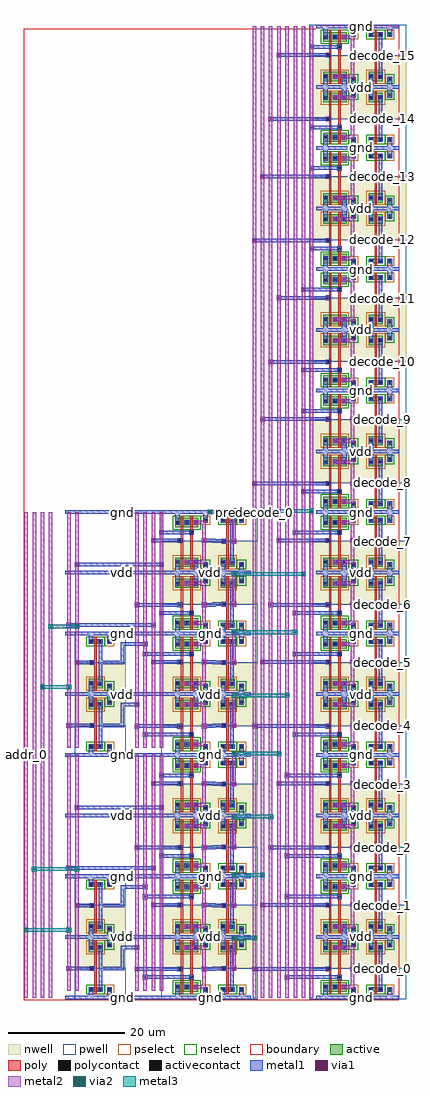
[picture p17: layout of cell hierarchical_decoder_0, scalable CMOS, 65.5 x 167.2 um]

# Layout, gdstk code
import gdstk
lib = gdstk.Library(unit=1e-6, precision=1e-09)
def R(c, l, rs):  # rectangles x0, y0, x1, y1
    for r in rs: c.add(gdstk.rectangle(r[:2], r[2:], *l))
def A(c, l, x, y, w, h, nx, ny, dx, dy):  # array of equal rectangles
    R(c, l, [(x+i*dx, y+j*dy, x+i*dx+w, y+j*dy+h) for i in range(nx) for j in range(ny)])
pwell = (41, 0)
nwell = (42, 0)
active = (43, 0)
pselect = (44, 0)
nselect = (45, 0)
poly = (46, 0)
polycontact = (47, 0)
activecontact = (48, 0)
metal1 = (49, 0)
via1 = (50, 0)
metal2 = (51, 0)
via2 = (61, 0)
metal3 = (62, 0)
boundary = (63, 0)

contact_11 = lib.new_cell('contact_11')
R(contact_11, nwell, [(-1.2,-1.2,2,2)])
R(contact_11, active, [(0,0,0.8,0.8)])
R(contact_11, pselect, [(-0.4,-0.4,1.2,1.2)])
R(contact_11, activecontact, [(0.2,0.2,0.6,0.6)])
R(contact_11, metal1, [(0,0,0.8,0.8)])

pmos_m1_w1_600_a_p = lib.new_cell('pmos_m1_w1_600_a_p')
R(pmos_m1_w1_600_a_p, nwell, [(-1.2,-1.2,3.6,2.8)])
R(pmos_m1_w1_600_a_p, active, [(0,0,2.4,1.6)])
R(pmos_m1_w1_600_a_p, pselect, [(-0.4,-0.4,2.8,2)])
R(pmos_m1_w1_600_a_p, poly, [(1,-0.4,1.4,2), (1,-0.4,1.4,2)])
R(pmos_m1_w1_600_a_p, metal1, [(0,0.4,0.8,1.2), (1.6,0.4,2.4,1.2)])
R(pmos_m1_w1_600_a_p, boundary, [(-1.2,-1.2,3.6,2.8)])
pmos_m1_w1_600_a_p.add(gdstk.Reference(contact_11, (0,0.4)))
pmos_m1_w1_600_a_p.add(gdstk.Reference(contact_11, (1.6,0.4)))
pmos_m1_w1_600_a_p.add(gdstk.Label('G', (1.2,0.8), layer=46, texttype=0))
pmos_m1_w1_600_a_p.add(gdstk.Label('S', (0.4,0.8), layer=49, texttype=0))
pmos_m1_w1_600_a_p.add(gdstk.Label('D', (2,0.8), layer=49, texttype=0))

contact_16 = lib.new_cell('contact_16')
R(contact_16, pwell, [(-1.2,-1.2,2,2)])
R(contact_16, active, [(0,0,0.8,0.8)])
R(contact_16, nselect, [(-0.4,-0.4,1.2,1.2)])
R(contact_16, activecontact, [(0.2,0.2,0.6,0.6)])
R(contact_16, metal1, [(0,0,0.8,0.8)])

nmos_m1_w0_800_a_p = lib.new_cell('nmos_m1_w0_800_a_p')
R(nmos_m1_w0_800_a_p, pwell, [(-1.2,-1.2,3.6,2)])
R(nmos_m1_w0_800_a_p, active, [(0,0,2.4,0.8)])
R(nmos_m1_w0_800_a_p, nselect, [(-0.4,-0.4,2.8,1.2)])
R(nmos_m1_w0_800_a_p, poly, [(1,-0.4,1.4,1.2), (1,-0.4,1.4,1.2)])
R(nmos_m1_w0_800_a_p, metal1, [(0,0,0.8,0.8), (1.6,0,2.4,0.8)])
R(nmos_m1_w0_800_a_p, boundary, [(-1.2,-1.2,3.6,2)])
nmos_m1_w0_800_a_p.add(gdstk.Reference(contact_16, (0,0)))
nmos_m1_w0_800_a_p.add(gdstk.Reference(contact_16, (1.6,0)))
nmos_m1_w0_800_a_p.add(gdstk.Label('G', (1.2,0.4), layer=46, texttype=0))
nmos_m1_w0_800_a_p.add(gdstk.Label('S', (0.4,0.4), layer=49, texttype=0))
nmos_m1_w0_800_a_p.add(gdstk.Label('D', (2,0.4), layer=49, texttype=0))

contact_13 = lib.new_cell('contact_13')
R(contact_13, nwell, [(-1.2,-1.2,2,2)])
R(contact_13, active, [(0,0,0.8,0.8)])
R(contact_13, nselect, [(-0.4,-0.4,1.2,1.2)])
R(contact_13, activecontact, [(0.2,0.2,0.6,0.6)])
R(contact_13, metal1, [(0,0,0.8,0.8)])

contact_17 = lib.new_cell('contact_17')
R(contact_17, pwell, [(-1.2,-1.2,2,2)])
R(contact_17, active, [(0,0,0.8,0.8)])
R(contact_17, pselect, [(-0.4,-0.4,1.2,1.2)])
R(contact_17, activecontact, [(0.2,0.2,0.6,0.6)])
R(contact_17, metal1, [(0,0,0.8,0.8)])

contact_12 = lib.new_cell('contact_12')
R(contact_12, poly, [(0,0,0.8,0.8)])
R(contact_12, polycontact, [(0.2,0.2,0.6,0.6)])
R(contact_12, metal1, [(0,0,0.8,0.8)])

pinv_0 = lib.new_cell('pinv_0')
R(pinv_0, pwell, [(-1.2,-0.3,7.6,5)])
R(pinv_0, nwell, [(-1.2,5,7.6,11.8)])
R(pinv_0, poly, [(2.2,2.2,2.6,7.4), (1.8,4.6,2.2,5.4)])
R(pinv_0, metal1, [(0,-0.3,6.4,0.3), (1.2,-0.3,2,1), (4.4,0,5.2,1.4), (2.9,1,3.5,9), (1.4,4.6,2.2,5.4), (3.2,4.7,3.8,5.3), (1.2,8.2,2,10.7), (4.4,9,5.2,10.4), (0,10.1,6.4,10.7)])
R(pinv_0, boundary, [(0,0,6.4,10.4)])
pinv_0.add(gdstk.Reference(pmos_m1_w1_600_a_p, (1.2,7.8)))
pinv_0.add(gdstk.Reference(nmos_m1_w0_800_a_p, (1.2,1)))
pinv_0.add(gdstk.Reference(contact_13, (4.4,8.6)))
pinv_0.add(gdstk.Reference(contact_17, (4.4,1)))
pinv_0.add(gdstk.Reference(contact_12, (1.4,4.6)))
pinv_0.add(gdstk.Label('gnd', (3.2,0), layer=49, texttype=0))
pinv_0.add(gdstk.Label('vdd', (3.2,10.4), layer=49, texttype=0))
pinv_0.add(gdstk.Label('A', (1.8,5), layer=49, texttype=0))
pinv_0.add(gdstk.Label('Z', (3.5,5), layer=49, texttype=0))

nmos_m1_w1_600_a_p = lib.new_cell('nmos_m1_w1_600_a_p')
R(nmos_m1_w1_600_a_p, pwell, [(-1.2,-1.2,3.6,2.8)])
R(nmos_m1_w1_600_a_p, active, [(0,0,2.4,1.6)])
R(nmos_m1_w1_600_a_p, nselect, [(-0.4,-0.4,2.8,2)])
R(nmos_m1_w1_600_a_p, poly, [(1,-0.4,1.4,2), (1,-0.4,1.4,2)])
R(nmos_m1_w1_600_a_p, metal1, [(0,0.4,0.8,1.2), (1.6,0.4,2.4,1.2)])
R(nmos_m1_w1_600_a_p, boundary, [(-1.2,-1.2,3.6,2.8)])
nmos_m1_w1_600_a_p.add(gdstk.Reference(contact_16, (0,0.4)))
nmos_m1_w1_600_a_p.add(gdstk.Reference(contact_16, (1.6,0.4)))
nmos_m1_w1_600_a_p.add(gdstk.Label('G', (1.2,0.8), layer=46, texttype=0))
nmos_m1_w1_600_a_p.add(gdstk.Label('S', (0.4,0.8), layer=49, texttype=0))
nmos_m1_w1_600_a_p.add(gdstk.Label('D', (2,0.8), layer=49, texttype=0))

contact_18 = lib.new_cell('contact_18')
R(contact_18, metal1, [(0,0,0.8,0.8)])
R(contact_18, via1, [(0.2,0.2,0.6,0.6)])
R(contact_18, metal2, [(0,0,0.8,0.8)])

contact_19 = lib.new_cell('contact_19')
R(contact_19, metal1, [(0,0,0.8,0.8)])
R(contact_19, via1, [(0.2,0.2,0.6,0.6)])
R(contact_19, metal2, [(0,0,0.8,0.8)])

pnand2_0 = lib.new_cell('pnand2_0')
R(pnand2_0, pwell, [(-1.2,-0.3,9,5)])
R(pnand2_0, nwell, [(-1.2,5,9,11.8)])
R(pnand2_0, poly, [(2.2,3,2.6,7.4), (3.8,3,4.2,7.4), (3.8,3.1,4,3.9), (2,4.5,2.2,5.3)])
R(pnand2_0, metal1, [(0,-0.3,7.8,0.3), (1.2,-0.3,2,1.4), (6,0,6.8,1.4), (3.6,3.1,4.4,3.9), (1.6,4.5,2.4,5.3), (5.8,4.5,6.6,5.3), (1.2,8.2,2,10.7), (4.4,8.2,5.2,10.7), (6,9,6.8,10.4), (0,10.1,7.8,10.7)])
R(pnand2_0, metal2, [(4.8,1.5,6.2,2.1), (5.9,1.5,6.5,2.1), (5.9,1.8,6.5,4.9), (5.9,4.9,6.5,8.6), (3.2,8.3,6.2,8.9), (5.9,8.3,6.5,8.9)])
R(pnand2_0, boundary, [(0,0,7.8,10.4)])
pnand2_0.add(gdstk.Reference(pmos_m1_w1_600_a_p, (1.2,7.8)))
pnand2_0.add(gdstk.Reference(pmos_m1_w1_600_a_p, (2.8,7.8)))
pnand2_0.add(gdstk.Reference(nmos_m1_w1_600_a_p, (1.2,1)))
pnand2_0.add(gdstk.Reference(nmos_m1_w1_600_a_p, (2.8,1)))
pnand2_0.add(gdstk.Reference(contact_13, (6,8.6)))
pnand2_0.add(gdstk.Reference(contact_17, (6,1)))
pnand2_0.add(gdstk.Reference(contact_12, (3.6,3.1)))
pnand2_0.add(gdstk.Reference(contact_12, (1.6,4.5)))
pnand2_0.add(gdstk.Reference(contact_18, (2.8,8.2)))
pnand2_0.add(gdstk.Reference(contact_18, (4.4,1.4)))
pnand2_0.add(gdstk.Reference(contact_19, (5.8,4.5)))
pnand2_0.add(gdstk.Label('gnd', (3.9,0), layer=49, texttype=0))
pnand2_0.add(gdstk.Label('vdd', (3.9,10.4), layer=49, texttype=0))
pnand2_0.add(gdstk.Label('B', (4,3.5), layer=49, texttype=0))
pnand2_0.add(gdstk.Label('A', (2,4.9), layer=49, texttype=0))
pnand2_0.add(gdstk.Label('Z', (6.2,4.9), layer=49, texttype=0))

contact_7 = lib.new_cell('contact_7')
R(contact_7, metal1, [(0,0,0.8,0.8)])
R(contact_7, via1, [(0.2,0.2,0.6,0.6)])
R(contact_7, metal2, [(0,0,0.8,0.8)])

contact_8 = lib.new_cell('contact_8')
R(contact_8, metal2, [(0,0,0.8,0.8)])
R(contact_8, via2, [(0.2,0.2,0.6,0.6)])
R(contact_8, metal3, [(0,0,0.8,0.8)])

hierarchical_predecode2x = lib.new_cell('hierarchical_predecode2x4_0')
R(hierarchical_predecode2x, metal1, [(0,-0.3,31.8,0.3), (13.7,3.2,21.2,3.8), (12.3,4.6,19.2,5.2), (24.2,4.6,25.5,5.2), (25.2,4.6,25.8,5.2), (0.6,4.7,4.2,5.3), (6.6,4.7,9.8,5.3), (9.5,4.7,10.1,5.3), (25.2,4.7,25.8,5.3), (25.5,4.7,26.8,5.3), (28.6,4.7,29.2,5.3), (25.2,4.9,25.8,5), (9.5,5,10.1,8.6), (9.5,8.3,10.1,8.9), (9.8,8.3,12.3,8.9), (0,10.1,31.8,10.7), (0,10.1,31.8,10.7), (2,15.5,4.2,16.1), (6.6,15.5,9.8,16.1), (9.5,15.5,10.1,16.1), (25.2,15.5,25.8,16.1), (25.5,15.5,26.8,16.1), (28.6,15.5,29.2,16.1), (15.1,15.6,19.2,16.2), (24.2,15.6,25.5,16.2), (25.2,15.6,25.8,16.2), (9.5,15.8,10.1,19), (25.2,15.8,25.8,15.9), (13.7,17,21.2,17.6), (9.5,18.7,10.1,19.3), (9.8,18.7,13.7,19.3), (0,20.5,31.8,21.1), (0,20.5,31.8,21.1), (0.6,21.9,15.1,22.5), (16.5,24,21.2,24.6), (12.3,25.4,19.2,26), (24.2,25.4,25.5,26), (25.2,25.4,25.8,26), (25.2,25.5,25.8,26.1), (25.5,25.5,26.8,26.1), (28.6,25.5,29.2,26.1), (25.2,25.7,25.8,25.8), (0,30.9,31.8,31.5), (0,30.9,31.8,31.5), (2,32.3,16.5,32.9), (25.2,36.3,25.8,36.9), (25.5,36.3,26.8,36.9), (28.6,36.3,29.2,36.9), (15.1,36.4,19.2,37), (24.2,36.4,25.5,37), (25.2,36.4,25.8,37), (25.2,36.6,25.8,36.7), (16.5,37.8,21.2,38.4), (0,41.3,31.8,41.9)])
A(hierarchical_predecode2x, metal2, 12, 1.2, 0.6, 40.4, 4, 1, 1.4, 0)
R(hierarchical_predecode2x, metal2, [(0.3,1.2,0.9,41.6), (1.7,1.2,2.3,41.6)])
A(hierarchical_predecode2x, metal3, 9.4, 10, 0.8, 0.8, 1, 3, 0, 10.4)
A(hierarchical_predecode2x, metal3, 24.4, 10, 0.8, 0.8, 1, 3, 0, 10.4)
R(hierarchical_predecode2x, metal3, [(9.4,-0.4,10.2,0.4), (24.4,-0.4,25.2,0.4), (9.4,10,10.2,10.8), (24.4,10,25.2,10.8), (9.4,30.8,10.2,31.6), (24.4,30.8,25.2,31.6), (9.4,41.2,10.2,42), (24.4,41.2,25.2,42)])
R(hierarchical_predecode2x, boundary, [(0,0,31.8,41.6)])
hierarchical_predecode2x.add(gdstk.Reference(pinv_0, (2.8,0)))
hierarchical_predecode2x.add(gdstk.Reference(pinv_0, (2.8,20.8), x_reflection=True))
hierarchical_predecode2x.add(gdstk.Reference(pinv_0, (25.4,0)))
hierarchical_predecode2x.add(gdstk.Reference(pinv_0, (25.4,20.8), x_reflection=True))
hierarchical_predecode2x.add(gdstk.Reference(pinv_0, (25.4,20.8)))
hierarchical_predecode2x.add(gdstk.Reference(pinv_0, (25.4,41.6), x_reflection=True))
hierarchical_predecode2x.add(gdstk.Reference(pnand2_0, (17.6,0)))
hierarchical_predecode2x.add(gdstk.Reference(pnand2_0, (17.6,20.8), x_reflection=True))
hierarchical_predecode2x.add(gdstk.Reference(pnand2_0, (17.6,20.8)))
hierarchical_predecode2x.add(gdstk.Reference(pnand2_0, (17.6,41.6), x_reflection=True))
hierarchical_predecode2x.add(gdstk.Reference(contact_19, (11.9,8.2)))
hierarchical_predecode2x.add(gdstk.Reference(contact_19, (0.2,4.6)))
hierarchical_predecode2x.add(gdstk.Reference(contact_19, (13.3,18.6)))
hierarchical_predecode2x.add(gdstk.Reference(contact_19, (1.6,15.4)))
hierarchical_predecode2x.add(gdstk.Reference(contact_19, (0.2,21.8)))
hierarchical_predecode2x.add(gdstk.Reference(contact_19, (14.7,21.8)))
hierarchical_predecode2x.add(gdstk.Reference(contact_19, (1.6,32.2)))
hierarchical_predecode2x.add(gdstk.Reference(contact_19, (16.1,32.2)))
hierarchical_predecode2x.add(gdstk.Reference(contact_19, (11.9,4.5)))
hierarchical_predecode2x.add(gdstk.Reference(contact_19, (13.3,3.1)))
hierarchical_predecode2x.add(gdstk.Reference(contact_19, (14.7,15.5)))
hierarchical_predecode2x.add(gdstk.Reference(contact_19, (13.3,16.9)))
hierarchical_predecode2x.add(gdstk.Reference(contact_19, (11.9,25.3)))
hierarchical_predecode2x.add(gdstk.Reference(contact_19, (16.1,23.9)))
hierarchical_predecode2x.add(gdstk.Reference(contact_19, (14.7,36.3)))
hierarchical_predecode2x.add(gdstk.Reference(contact_19, (16.1,37.7)))
hierarchical_predecode2x.add(gdstk.Reference(contact_7, (9.4,10)))
hierarchical_predecode2x.add(gdstk.Reference(contact_8, (9.4,10)))
hierarchical_predecode2x.add(gdstk.Reference(contact_7, (24.4,10)))
hierarchical_predecode2x.add(gdstk.Reference(contact_8, (24.4,10)))
hierarchical_predecode2x.add(gdstk.Reference(contact_7, (9.4,-0.4)))
hierarchical_predecode2x.add(gdstk.Reference(contact_8, (9.4,-0.4)))
hierarchical_predecode2x.add(gdstk.Reference(contact_7, (24.4,-0.4)))
hierarchical_predecode2x.add(gdstk.Reference(contact_8, (24.4,-0.4)))
hierarchical_predecode2x.add(gdstk.Reference(contact_7, (9.4,10)))
hierarchical_predecode2x.add(gdstk.Reference(contact_8, (9.4,10)))
hierarchical_predecode2x.add(gdstk.Reference(contact_7, (24.4,10)))
hierarchical_predecode2x.add(gdstk.Reference(contact_8, (24.4,10)))
hierarchical_predecode2x.add(gdstk.Reference(contact_7, (9.4,20.4)))
hierarchical_predecode2x.add(gdstk.Reference(contact_8, (9.4,20.4)))
hierarchical_predecode2x.add(gdstk.Reference(contact_7, (24.4,20.4)))
hierarchical_predecode2x.add(gdstk.Reference(contact_8, (24.4,20.4)))
hierarchical_predecode2x.add(gdstk.Reference(contact_7, (9.4,30.8)))
hierarchical_predecode2x.add(gdstk.Reference(contact_8, (9.4,30.8)))
hierarchical_predecode2x.add(gdstk.Reference(contact_7, (24.4,30.8)))
hierarchical_predecode2x.add(gdstk.Reference(contact_8, (24.4,30.8)))
hierarchical_predecode2x.add(gdstk.Reference(contact_7, (9.4,20.4)))
hierarchical_predecode2x.add(gdstk.Reference(contact_8, (9.4,20.4)))
hierarchical_predecode2x.add(gdstk.Reference(contact_7, (24.4,20.4)))
hierarchical_predecode2x.add(gdstk.Reference(contact_8, (24.4,20.4)))
hierarchical_predecode2x.add(gdstk.Reference(contact_7, (9.4,30.8)))
hierarchical_predecode2x.add(gdstk.Reference(contact_8, (9.4,30.8)))
hierarchical_predecode2x.add(gdstk.Reference(contact_7, (24.4,30.8)))
hierarchical_predecode2x.add(gdstk.Reference(contact_8, (24.4,30.8)))
hierarchical_predecode2x.add(gdstk.Reference(contact_7, (9.4,41.2)))
hierarchical_predecode2x.add(gdstk.Reference(contact_8, (9.4,41.2)))
hierarchical_predecode2x.add(gdstk.Reference(contact_7, (24.4,41.2)))
hierarchical_predecode2x.add(gdstk.Reference(contact_8, (24.4,41.2)))
hierarchical_predecode2x.add(gdstk.Label('in_0', (0.6,21.4), layer=51, texttype=0))
hierarchical_predecode2x.add(gdstk.Label('in_1', (2,21.4), layer=51, texttype=0))
hierarchical_predecode2x.add(gdstk.Label('out_0', (28.9,5), layer=49, texttype=0))
hierarchical_predecode2x.add(gdstk.Label('out_1', (28.9,15.8), layer=49, texttype=0))
hierarchical_predecode2x.add(gdstk.Label('out_2', (28.9,25.8), layer=49, texttype=0))
hierarchical_predecode2x.add(gdstk.Label('out_3', (28.9,36.6), layer=49, texttype=0))
hierarchical_predecode2x.add(gdstk.Label('vdd', (24.8,31.2), layer=62, texttype=0))
hierarchical_predecode2x.add(gdstk.Label('vdd', (24.8,31.2), layer=62, texttype=0))
hierarchical_predecode2x.add(gdstk.Label('vdd', (9.8,31.2), layer=62, texttype=0))
hierarchical_predecode2x.add(gdstk.Label('vdd', (9.8,31.2), layer=62, texttype=0))
hierarchical_predecode2x.add(gdstk.Label('vdd', (24.8,10.4), layer=62, texttype=0))
hierarchical_predecode2x.add(gdstk.Label('vdd', (24.8,10.4), layer=62, texttype=0))
hierarchical_predecode2x.add(gdstk.Label('vdd', (9.8,10.4), layer=62, texttype=0))
hierarchical_predecode2x.add(gdstk.Label('vdd', (9.8,10.4), layer=62, texttype=0))
hierarchical_predecode2x.add(gdstk.Label('gnd', (9.8,0), layer=62, texttype=0))
hierarchical_predecode2x.add(gdstk.Label('gnd', (24.8,41.6), layer=62, texttype=0))
hierarchical_predecode2x.add(gdstk.Label('gnd', (24.8,0), layer=62, texttype=0))
hierarchical_predecode2x.add(gdstk.Label('gnd', (24.8,20.8), layer=62, texttype=0))
hierarchical_predecode2x.add(gdstk.Label('gnd', (9.8,41.6), layer=62, texttype=0))
hierarchical_predecode2x.add(gdstk.Label('gnd', (9.8,20.8), layer=62, texttype=0))

contact_9 = lib.new_cell('contact_9')
R(contact_9, metal2, [(0,0,0.8,0.8)])
R(contact_9, via2, [(0.2,0.2,0.6,0.6)])
R(contact_9, metal3, [(0,0,0.8,0.8)])

contact_21 = lib.new_cell('contact_21')
R(contact_21, metal2, [(0,0,0.8,0.8)])
R(contact_21, via2, [(0.2,0.2,0.6,0.6)])
R(contact_21, metal3, [(0,0,0.8,0.8)])

hierarchical_decoder_0 = lib.new_cell('hierarchical_decoder_0')
A(hierarchical_decoder_0, metal1, 50.1, 0.1, 14.2, 0.6, 1, 16, 0, 10.4)
A(hierarchical_decoder_0, metal1, 39.5, 5, 12.2, 0.6, 1, 4, 0, 41.6)
A(hierarchical_decoder_0, metal1, 40.9, 16, 10.8, 0.6, 1, 4, 0, 41.6)
A(hierarchical_decoder_0, metal1, 42.3, 25.8, 9.4, 0.6, 1, 4, 0, 41.6)
A(hierarchical_decoder_0, metal1, 43.7, 36.8, 8, 0.6, 1, 4, 0, 41.6)
R(hierarchical_decoder_0, metal1, [(45.1,3.6,53.7,4.2), (56.7,5,58,5.6), (57.7,5,58.3,5.6), (57.7,5.1,58.3,5.7), (58,5.1,59.3,5.7), (61.1,5.1,61.7,5.7), (57.7,5.3,58.3,5.4), (57.7,15.9,58.3,16.5), (58,15.9,59.3,16.5), (61.1,15.9,61.7,16.5), (56.7,16,58,16.6), (57.7,16,58.3,16.6), (57.7,16.2,58.3,16.3), (45.1,17.4,53.7,18), (45.1,24.4,53.7,25), (56.7,25.8,58,26.4), (57.7,25.8,58.3,26.4), (57.7,25.9,58.3,26.5), (58,25.9,59.3,26.5), (61.1,25.9,61.7,26.5), (57.7,26.1,58.3,26.2), (57.7,36.7,58.3,37.3), (58,36.7,59.3,37.3), (61.1,36.7,61.7,37.3), (56.7,36.8,58,37.4), (57.7,36.8,58.3,37.4), (57.7,37,58.3,37.1), (45.1,38.2,53.7,38.8), (46.5,45.2,53.7,45.8), (56.7,46.6,58,47.2), (57.7,46.6,58.3,47.2), (57.7,46.7,58.3,47.3), (58,46.7,59.3,47.3), (61.1,46.7,61.7,47.3), (57.7,46.9,58.3,47), (57.7,57.5,58.3,58.1), (58,57.5,59.3,58.1), (61.1,57.5,61.7,58.1), (56.7,57.6,58,58.2), (57.7,57.6,58.3,58.2), (57.7,57.8,58.3,57.9), (46.5,59,53.7,59.6), (46.5,66,53.7,66.6), (56.7,67.4,58,68), (57.7,67.4,58.3,68), (57.7,67.5,58.3,68.1), (58,67.5,59.3,68.1), (61.1,67.5,61.7,68.1), (57.7,67.7,58.3,67.8), (57.7,78.3,58.3,78.9), (58,78.3,59.3,78.9), (61.1,78.3,61.7,78.9), (56.7,78.4,58,79), (57.7,78.4,58.3,79), (57.7,78.6,58.3,78.7), (46.5,79.8,53.7,80.4), (47.9,86.8,53.7,87.4), (56.7,88.2,58,88.8), (57.7,88.2,58.3,88.8), (57.7,88.3,58.3,88.9), (58,88.3,59.3,88.9), (61.1,88.3,61.7,88.9), (57.7,88.5,58.3,88.6), (57.7,99.1,58.3,99.7), (58,99.1,59.3,99.7), (61.1,99.1,61.7,99.7), (56.7,99.2,58,99.8), (57.7,99.2,58.3,99.8), (57.7,99.4,58.3,99.5), (47.9,100.6,53.7,101.2), (47.9,107.6,53.7,108.2), (56.7,109,58,109.6), (57.7,109,58.3,109.6), (57.7,109.1,58.3,109.7), (58,109.1,59.3,109.7), (61.1,109.1,61.7,109.7), (57.7,109.3,58.3,109.4), (57.7,119.9,58.3,120.5), (58,119.9,59.3,120.5), (61.1,119.9,61.7,120.5), (56.7,120,58,120.6), (57.7,120,58.3,120.6), (57.7,120.2,58.3,120.3), (47.9,121.4,53.7,122), (49.3,128.4,53.7,129), (56.7,129.8,58,130.4), (57.7,129.8,58.3,130.4), (57.7,129.9,58.3,130.5), (58,129.9,59.3,130.5), (61.1,129.9,61.7,130.5), (57.7,130.1,58.3,130.2), (57.7,140.7,58.3,141.3), (58,140.7,59.3,141.3), (61.1,140.7,61.7,141.3), (56.7,140.8,58,141.4), (57.7,140.8,58.3,141.4), (57.7,141,58.3,141.1), (49.3,142.2,53.7,142.8), (49.3,149.2,53.7,149.8), (56.7,150.6,58,151.2), (57.7,150.6,58.3,151.2), (57.7,150.7,58.3,151.3), (58,150.7,59.3,151.3), (61.1,150.7,61.7,151.3), (57.7,150.9,58.3,151), (57.7,161.5,58.3,162.1), (58,161.5,59.3,162.1), (61.1,161.5,61.7,162.1), (56.7,161.6,58,162.2), (57.7,161.6,58.3,162.2), (57.7,161.8,58.3,161.9), (49.3,163,53.7,163.6)])
A(hierarchical_decoder_0, metal2, 0.1, 0.4, 0.6, 83.2, 4, 1, 1.4, 0)
A(hierarchical_decoder_0, metal2, 39.2, 0.4, 0.6, 166.4, 8, 1, 1.4, 0)
R(hierarchical_decoder_0, metal2, [(35.7,5.7,36.3,10.6), (35.7,16.5,36.3,21.4), (35.7,26.5,36.3,31.4), (35.7,37.3,36.3,42.2), (35.7,47.3,36.3,52.2), (35.7,58.1,36.3,63), (35.7,68.1,36.3,73), (35.7,78.9,36.3,83.8)])
A(hierarchical_decoder_0, metal3, 16.5, 0, 0.8, 0.8, 1, 9, 0, 10.4)
A(hierarchical_decoder_0, metal3, 31.5, 0, 0.8, 0.8, 1, 9, 0, 10.4)
A(hierarchical_decoder_0, metal3, 57.5, 10.4, 0.8, 0.8, 1, 3, 0, 10.4)
A(hierarchical_decoder_0, metal3, 57.5, 31.2, 0.8, 0.8, 1, 5, 0, 10.4)
A(hierarchical_decoder_0, metal3, 57.5, 72.8, 0.8, 0.8, 1, 3, 0, 10.4)
A(hierarchical_decoder_0, metal3, 57.5, 93.6, 0.8, 0.8, 1, 8, 0, 10.4)
R(hierarchical_decoder_0, metal3, [(57.5,0,58.3,0.8), (36,10.3,39.5,10.9), (57.5,10.4,58.3,11.2), (0.4,11.7,7.7,12.3), (36,21.1,40.9,21.7), (1.8,22.1,9.1,22.7), (36,31.1,42.3,31.7), (36,41.9,43.7,42.5), (36,51.9,45.1,52.5), (3.2,53.3,7.7,53.9), (36,62.7,46.5,63.3), (4.6,63.7,9.1,64.3), (36,72.7,47.9,73.3), (36,83.5,49.3,84.1)])
R(hierarchical_decoder_0, boundary, [(0,0,64.2,166.4)])
hierarchical_decoder_0.add(gdstk.Reference(hierarchical_predecode2x, (7.1,0.4)))
hierarchical_decoder_0.add(gdstk.Reference(hierarchical_predecode2x, (7.1,42)))
hierarchical_decoder_0.add(gdstk.Reference(pnand2_0, (50.1,0.4)))
hierarchical_decoder_0.add(gdstk.Reference(pnand2_0, (50.1,21.2), x_reflection=True))
hierarchical_decoder_0.add(gdstk.Reference(pnand2_0, (50.1,21.2)))
hierarchical_decoder_0.add(gdstk.Reference(pnand2_0, (50.1,42), x_reflection=True))
hierarchical_decoder_0.add(gdstk.Reference(pnand2_0, (50.1,42)))
hierarchical_decoder_0.add(gdstk.Reference(pnand2_0, (50.1,62.8), x_reflection=True))
hierarchical_decoder_0.add(gdstk.Reference(pnand2_0, (50.1,62.8)))
hierarchical_decoder_0.add(gdstk.Reference(pnand2_0, (50.1,83.6), x_reflection=True))
hierarchical_decoder_0.add(gdstk.Reference(pnand2_0, (50.1,83.6)))
hierarchical_decoder_0.add(gdstk.Reference(pnand2_0, (50.1,104.4), x_reflection=True))
hierarchical_decoder_0.add(gdstk.Reference(pnand2_0, (50.1,104.4)))
hierarchical_decoder_0.add(gdstk.Reference(pnand2_0, (50.1,125.2), x_reflection=True))
hierarchical_decoder_0.add(gdstk.Reference(pnand2_0, (50.1,125.2)))
hierarchical_decoder_0.add(gdstk.Reference(pnand2_0, (50.1,146), x_reflection=True))
hierarchical_decoder_0.add(gdstk.Reference(pnand2_0, (50.1,146)))
hierarchical_decoder_0.add(gdstk.Reference(pnand2_0, (50.1,166.8), x_reflection=True))
hierarchical_decoder_0.add(gdstk.Reference(pinv_0, (57.9,0.4)))
hierarchical_decoder_0.add(gdstk.Reference(pinv_0, (57.9,21.2), x_reflection=True))
hierarchical_decoder_0.add(gdstk.Reference(pinv_0, (57.9,21.2)))
hierarchical_decoder_0.add(gdstk.Reference(pinv_0, (57.9,42), x_reflection=True))
hierarchical_decoder_0.add(gdstk.Reference(pinv_0, (57.9,42)))
hierarchical_decoder_0.add(gdstk.Reference(pinv_0, (57.9,62.8), x_reflection=True))
hierarchical_decoder_0.add(gdstk.Reference(pinv_0, (57.9,62.8)))
hierarchical_decoder_0.add(gdstk.Reference(pinv_0, (57.9,83.6), x_reflection=True))
hierarchical_decoder_0.add(gdstk.Reference(pinv_0, (57.9,83.6)))
hierarchical_decoder_0.add(gdstk.Reference(pinv_0, (57.9,104.4), x_reflection=True))
hierarchical_decoder_0.add(gdstk.Reference(pinv_0, (57.9,104.4)))
hierarchical_decoder_0.add(gdstk.Reference(pinv_0, (57.9,125.2), x_reflection=True))
hierarchical_decoder_0.add(gdstk.Reference(pinv_0, (57.9,125.2)))
hierarchical_decoder_0.add(gdstk.Reference(pinv_0, (57.9,146), x_reflection=True))
hierarchical_decoder_0.add(gdstk.Reference(pinv_0, (57.9,146)))
hierarchical_decoder_0.add(gdstk.Reference(pinv_0, (57.9,166.8), x_reflection=True))
hierarchical_decoder_0.add(gdstk.Reference(contact_9, (7.3,11.6)))
hierarchical_decoder_0.add(gdstk.Reference(contact_9, (0,11.6)))
hierarchical_decoder_0.add(gdstk.Reference(contact_9, (8.7,22)))
hierarchical_decoder_0.add(gdstk.Reference(contact_9, (1.4,22)))
hierarchical_decoder_0.add(gdstk.Reference(contact_9, (7.3,53.2)))
hierarchical_decoder_0.add(gdstk.Reference(contact_9, (2.8,53.2)))
hierarchical_decoder_0.add(gdstk.Reference(contact_9, (8.7,63.6)))
hierarchical_decoder_0.add(gdstk.Reference(contact_9, (4.2,63.6)))
hierarchical_decoder_0.add(gdstk.Reference(contact_19, (35.6,5)))
hierarchical_decoder_0.add(gdstk.Reference(contact_21, (35.6,10.2)))
hierarchical_decoder_0.add(gdstk.Reference(contact_9, (39.1,10.2)))
hierarchical_decoder_0.add(gdstk.Reference(contact_19, (35.6,15.8)))
hierarchical_decoder_0.add(gdstk.Reference(contact_21, (35.6,21)))
hierarchical_decoder_0.add(gdstk.Reference(contact_9, (40.5,21)))
hierarchical_decoder_0.add(gdstk.Reference(contact_19, (35.6,25.8)))
hierarchical_decoder_0.add(gdstk.Reference(contact_21, (35.6,31)))
hierarchical_decoder_0.add(gdstk.Reference(contact_9, (41.9,31)))
hierarchical_decoder_0.add(gdstk.Reference(contact_19, (35.6,36.6)))
hierarchical_decoder_0.add(gdstk.Reference(contact_21, (35.6,41.8)))
hierarchical_decoder_0.add(gdstk.Reference(contact_9, (43.3,41.8)))
hierarchical_decoder_0.add(gdstk.Reference(contact_19, (35.6,46.6)))
hierarchical_decoder_0.add(gdstk.Reference(contact_21, (35.6,51.8)))
hierarchical_decoder_0.add(gdstk.Reference(contact_9, (44.7,51.8)))
hierarchical_decoder_0.add(gdstk.Reference(contact_19, (35.6,57.4)))
hierarchical_decoder_0.add(gdstk.Reference(contact_21, (35.6,62.6)))
hierarchical_decoder_0.add(gdstk.Reference(contact_9, (46.1,62.6)))
hierarchical_decoder_0.add(gdstk.Reference(contact_19, (35.6,67.4)))
hierarchical_decoder_0.add(gdstk.Reference(contact_21, (35.6,72.6)))
hierarchical_decoder_0.add(gdstk.Reference(contact_9, (47.5,72.6)))
hierarchical_decoder_0.add(gdstk.Reference(contact_19, (35.6,78.2)))
hierarchical_decoder_0.add(gdstk.Reference(contact_21, (35.6,83.4)))
hierarchical_decoder_0.add(gdstk.Reference(contact_9, (48.9,83.4)))
hierarchical_decoder_0.add(gdstk.Reference(contact_19, (39.1,4.9)))
hierarchical_decoder_0.add(gdstk.Reference(contact_19, (44.7,3.5)))
hierarchical_decoder_0.add(gdstk.Reference(contact_19, (40.5,15.9)))
hierarchical_decoder_0.add(gdstk.Reference(contact_19, (44.7,17.3)))
hierarchical_decoder_0.add(gdstk.Reference(contact_19, (41.9,25.7)))
hierarchical_decoder_0.add(gdstk.Reference(contact_19, (44.7,24.3)))
hierarchical_decoder_0.add(gdstk.Reference(contact_19, (43.3,36.7)))
hierarchical_decoder_0.add(gdstk.Reference(contact_19, (44.7,38.1)))
hierarchical_decoder_0.add(gdstk.Reference(contact_19, (39.1,46.5)))
hierarchical_decoder_0.add(gdstk.Reference(contact_19, (46.1,45.1)))
hierarchical_decoder_0.add(gdstk.Reference(contact_19, (40.5,57.5)))
hierarchical_decoder_0.add(gdstk.Reference(contact_19, (46.1,58.9)))
hierarchical_decoder_0.add(gdstk.Reference(contact_19, (41.9,67.3)))
hierarchical_decoder_0.add(gdstk.Reference(contact_19, (46.1,65.9)))
hierarchical_decoder_0.add(gdstk.Reference(contact_19, (43.3,78.3)))
hierarchical_decoder_0.add(gdstk.Reference(contact_19, (46.1,79.7)))
hierarchical_decoder_0.add(gdstk.Reference(contact_19, (39.1,88.1)))
hierarchical_decoder_0.add(gdstk.Reference(contact_19, (47.5,86.7)))
hierarchical_decoder_0.add(gdstk.Reference(contact_19, (40.5,99.1)))
hierarchical_decoder_0.add(gdstk.Reference(contact_19, (47.5,100.5)))
hierarchical_decoder_0.add(gdstk.Reference(contact_19, (41.9,108.9)))
hierarchical_decoder_0.add(gdstk.Reference(contact_19, (47.5,107.5)))
hierarchical_decoder_0.add(gdstk.Reference(contact_19, (43.3,119.9)))
hierarchical_decoder_0.add(gdstk.Reference(contact_19, (47.5,121.3)))
hierarchical_decoder_0.add(gdstk.Reference(contact_19, (39.1,129.7)))
hierarchical_decoder_0.add(gdstk.Reference(contact_19, (48.9,128.3)))
hierarchical_decoder_0.add(gdstk.Reference(contact_19, (40.5,140.7)))
hierarchical_decoder_0.add(gdstk.Reference(contact_19, (48.9,142.1)))
hierarchical_decoder_0.add(gdstk.Reference(contact_19, (41.9,150.5)))
hierarchical_decoder_0.add(gdstk.Reference(contact_19, (48.9,149.1)))
hierarchical_decoder_0.add(gdstk.Reference(contact_19, (43.3,161.5)))
hierarchical_decoder_0.add(gdstk.Reference(contact_19, (48.9,162.9)))
hierarchical_decoder_0.add(gdstk.Reference(contact_7, (57.5,10.4)))
hierarchical_decoder_0.add(gdstk.Reference(contact_8, (57.5,10.4)))
hierarchical_decoder_0.add(gdstk.Reference(contact_7, (57.5,0)))
hierarchical_decoder_0.add(gdstk.Reference(contact_8, (57.5,0)))
hierarchical_decoder_0.add(gdstk.Reference(contact_7, (57.5,10.4)))
hierarchical_decoder_0.add(gdstk.Reference(contact_8, (57.5,10.4)))
hierarchical_decoder_0.add(gdstk.Reference(contact_7, (57.5,20.8)))
hierarchical_decoder_0.add(gdstk.Reference(contact_8, (57.5,20.8)))
hierarchical_decoder_0.add(gdstk.Reference(contact_7, (57.5,31.2)))
hierarchical_decoder_0.add(gdstk.Reference(contact_8, (57.5,31.2)))
hierarchical_decoder_0.add(gdstk.Reference(contact_7, (57.5,20.8)))
hierarchical_decoder_0.add(gdstk.Reference(contact_8, (57.5,20.8)))
hierarchical_decoder_0.add(gdstk.Reference(contact_7, (57.5,31.2)))
hierarchical_decoder_0.add(gdstk.Reference(contact_8, (57.5,31.2)))
hierarchical_decoder_0.add(gdstk.Reference(contact_7, (57.5,41.6)))
hierarchical_decoder_0.add(gdstk.Reference(contact_8, (57.5,41.6)))
hierarchical_decoder_0.add(gdstk.Reference(contact_7, (57.5,52)))
hierarchical_decoder_0.add(gdstk.Reference(contact_8, (57.5,52)))
hierarchical_decoder_0.add(gdstk.Reference(contact_7, (57.5,41.6)))
hierarchical_decoder_0.add(gdstk.Reference(contact_8, (57.5,41.6)))
hierarchical_decoder_0.add(gdstk.Reference(contact_7, (57.5,52)))
hierarchical_decoder_0.add(gdstk.Reference(contact_8, (57.5,52)))
hierarchical_decoder_0.add(gdstk.Reference(contact_7, (57.5,62.4)))
hierarchical_decoder_0.add(gdstk.Reference(contact_8, (57.5,62.4)))
hierarchical_decoder_0.add(gdstk.Reference(contact_7, (57.5,72.8)))
hierarchical_decoder_0.add(gdstk.Reference(contact_8, (57.5,72.8)))
hierarchical_decoder_0.add(gdstk.Reference(contact_7, (57.5,62.4)))
hierarchical_decoder_0.add(gdstk.Reference(contact_8, (57.5,62.4)))
hierarchical_decoder_0.add(gdstk.Reference(contact_7, (57.5,72.8)))
hierarchical_decoder_0.add(gdstk.Reference(contact_8, (57.5,72.8)))
hierarchical_decoder_0.add(gdstk.Reference(contact_7, (57.5,83.2)))
hierarchical_decoder_0.add(gdstk.Reference(contact_8, (57.5,83.2)))
hierarchical_decoder_0.add(gdstk.Reference(contact_7, (57.5,93.6)))
hierarchical_decoder_0.add(gdstk.Reference(contact_8, (57.5,93.6)))
hierarchical_decoder_0.add(gdstk.Reference(contact_7, (57.5,83.2)))
hierarchical_decoder_0.add(gdstk.Reference(contact_8, (57.5,83.2)))
hierarchical_decoder_0.add(gdstk.Reference(contact_7, (57.5,93.6)))
hierarchical_decoder_0.add(gdstk.Reference(contact_8, (57.5,93.6)))
hierarchical_decoder_0.add(gdstk.Reference(contact_7, (57.5,104)))
hierarchical_decoder_0.add(gdstk.Reference(contact_8, (57.5,104)))
hierarchical_decoder_0.add(gdstk.Reference(contact_7, (57.5,114.4)))
hierarchical_decoder_0.add(gdstk.Reference(contact_8, (57.5,114.4)))
hierarchical_decoder_0.add(gdstk.Reference(contact_7, (57.5,104)))
hierarchical_decoder_0.add(gdstk.Reference(contact_8, (57.5,104)))
hierarchical_decoder_0.add(gdstk.Reference(contact_7, (57.5,114.4)))
hierarchical_decoder_0.add(gdstk.Reference(contact_8, (57.5,114.4)))
hierarchical_decoder_0.add(gdstk.Reference(contact_7, (57.5,124.8)))
hierarchical_decoder_0.add(gdstk.Reference(contact_8, (57.5,124.8)))
hierarchical_decoder_0.add(gdstk.Reference(contact_7, (57.5,135.2)))
hierarchical_decoder_0.add(gdstk.Reference(contact_8, (57.5,135.2)))
hierarchical_decoder_0.add(gdstk.Reference(contact_7, (57.5,124.8)))
hierarchical_decoder_0.add(gdstk.Reference(contact_8, (57.5,124.8)))
hierarchical_decoder_0.add(gdstk.Reference(contact_7, (57.5,135.2)))
hierarchical_decoder_0.add(gdstk.Reference(contact_8, (57.5,135.2)))
hierarchical_decoder_0.add(gdstk.Reference(contact_7, (57.5,145.6)))
hierarchical_decoder_0.add(gdstk.Reference(contact_8, (57.5,145.6)))
hierarchical_decoder_0.add(gdstk.Reference(contact_7, (57.5,156)))
hierarchical_decoder_0.add(gdstk.Reference(contact_8, (57.5,156)))
hierarchical_decoder_0.add(gdstk.Reference(contact_7, (57.5,145.6)))
hierarchical_decoder_0.add(gdstk.Reference(contact_8, (57.5,145.6)))
hierarchical_decoder_0.add(gdstk.Reference(contact_7, (57.5,156)))
hierarchical_decoder_0.add(gdstk.Reference(contact_8, (57.5,156)))
hierarchical_decoder_0.add(gdstk.Reference(contact_7, (57.5,166.4)))
hierarchical_decoder_0.add(gdstk.Reference(contact_8, (57.5,166.4)))
hierarchical_decoder_0.add(gdstk.Label('decode_0', (61.4,5.4), layer=49, texttype=0))
hierarchical_decoder_0.add(gdstk.Label('decode_1', (61.4,16.2), layer=49, texttype=0))
hierarchical_decoder_0.add(gdstk.Label('decode_2', (61.4,26.2), layer=49, texttype=0))
hierarchical_decoder_0.add(gdstk.Label('decode_3', (61.4,37), layer=49, texttype=0))
hierarchical_decoder_0.add(gdstk.Label('decode_4', (61.4,47), layer=49, texttype=0))
hierarchical_decoder_0.add(gdstk.Label('decode_5', (61.4,57.8), layer=49, texttype=0))
hierarchical_decoder_0.add(gdstk.Label('decode_6', (61.4,67.8), layer=49, texttype=0))
hierarchical_decoder_0.add(gdstk.Label('decode_7', (61.4,78.6), layer=49, texttype=0))
hierarchical_decoder_0.add(gdstk.Label('decode_8', (61.4,88.6), layer=49, texttype=0))
hierarchical_decoder_0.add(gdstk.Label('decode_9', (61.4,99.4), layer=49, texttype=0))
hierarchical_decoder_0.add(gdstk.Label('decode_10', (61.4,109.4), layer=49, texttype=0))
hierarchical_decoder_0.add(gdstk.Label('decode_11', (61.4,120.2), layer=49, texttype=0))
hierarchical_decoder_0.add(gdstk.Label('decode_12', (61.4,130.2), layer=49, texttype=0))
hierarchical_decoder_0.add(gdstk.Label('decode_13', (61.4,141), layer=49, texttype=0))
hierarchical_decoder_0.add(gdstk.Label('decode_14', (61.4,151), layer=49, texttype=0))
hierarchical_decoder_0.add(gdstk.Label('decode_15', (61.4,161.8), layer=49, texttype=0))
hierarchical_decoder_0.add(gdstk.Label('addr_0', (0.4,42), layer=51, texttype=0))
hierarchical_decoder_0.add(gdstk.Label('addr_1', (1.8,42), layer=51, texttype=0))
hierarchical_decoder_0.add(gdstk.Label('addr_2', (3.2,42), layer=51, texttype=0))
hierarchical_decoder_0.add(gdstk.Label('addr_3', (4.6,42), layer=51, texttype=0))
hierarchical_decoder_0.add(gdstk.Label('predecode_0', (39.5,83.6), layer=51, texttype=0))
hierarchical_decoder_0.add(gdstk.Label('predecode_1', (40.9,83.6), layer=51, texttype=0))
hierarchical_decoder_0.add(gdstk.Label('predecode_2', (42.3,83.6), layer=51, texttype=0))
hierarchical_decoder_0.add(gdstk.Label('predecode_3', (43.7,83.6), layer=51, texttype=0))
hierarchical_decoder_0.add(gdstk.Label('predecode_4', (45.1,83.6), layer=51, texttype=0))
hierarchical_decoder_0.add(gdstk.Label('predecode_5', (46.5,83.6), layer=51, texttype=0))
hierarchical_decoder_0.add(gdstk.Label('predecode_6', (47.9,83.6), layer=51, texttype=0))
hierarchical_decoder_0.add(gdstk.Label('predecode_7', (49.3,83.6), layer=51, texttype=0))
hierarchical_decoder_0.add(gdstk.Label('vdd', (57.9,52.4), layer=62, texttype=0))
hierarchical_decoder_0.add(gdstk.Label('vdd', (57.9,73.2), layer=62, texttype=0))
hierarchical_decoder_0.add(gdstk.Label('vdd', (57.9,73.2), layer=62, texttype=0))
hierarchical_decoder_0.add(gdstk.Label('vdd', (57.9,10.8), layer=62, texttype=0))
hierarchical_decoder_0.add(gdstk.Label('vdd', (57.9,10.8), layer=62, texttype=0))
hierarchical_decoder_0.add(gdstk.Label('vdd', (31.9,73.2), layer=62, texttype=0))
hierarchical_decoder_0.add(gdstk.Label('vdd', (57.9,156.4), layer=62, texttype=0))
hierarchical_decoder_0.add(gdstk.Label('vdd', (16.9,52.4), layer=62, texttype=0))
hierarchical_decoder_0.add(gdstk.Label('vdd', (31.9,52.4), layer=62, texttype=0))
hierarchical_decoder_0.add(gdstk.Label('vdd', (57.9,31.6), layer=62, texttype=0))
hierarchical_decoder_0.add(gdstk.Label('vdd', (57.9,31.6), layer=62, texttype=0))
hierarchical_decoder_0.add(gdstk.Label('vdd', (31.9,10.8), layer=62, texttype=0))
hierarchical_decoder_0.add(gdstk.Label('vdd', (57.9,135.6), layer=62, texttype=0))
hierarchical_decoder_0.add(gdstk.Label('vdd', (16.9,73.2), layer=62, texttype=0))
hierarchical_decoder_0.add(gdstk.Label('vdd', (16.9,10.8), layer=62, texttype=0))
hierarchical_decoder_0.add(gdstk.Label('vdd', (16.9,31.6), layer=62, texttype=0))
hierarchical_decoder_0.add(gdstk.Label('vdd', (31.9,31.6), layer=62, texttype=0))
hierarchical_decoder_0.add(gdstk.Label('vdd', (57.9,114.8), layer=62, texttype=0))
hierarchical_decoder_0.add(gdstk.Label('vdd', (57.9,94), layer=62, texttype=0))
hierarchical_decoder_0.add(gdstk.Label('vdd', (57.9,94), layer=62, texttype=0))
hierarchical_decoder_0.add(gdstk.Label('gnd', (16.9,62.8), layer=62, texttype=0))
hierarchical_decoder_0.add(gdstk.Label('gnd', (57.9,104.4), layer=62, texttype=0))
hierarchical_decoder_0.add(gdstk.Label('gnd', (31.9,62.8), layer=62, texttype=0))
hierarchical_decoder_0.add(gdstk.Label('gnd', (31.9,42), layer=62, texttype=0))
hierarchical_decoder_0.add(gdstk.Label('gnd', (57.9,166.8), layer=62, texttype=0))
hierarchical_decoder_0.add(gdstk.Label('gnd', (57.9,0.4), layer=62, texttype=0))
hierarchical_decoder_0.add(gdstk.Label('gnd', (57.9,21.2), layer=62, texttype=0))
hierarchical_decoder_0.add(gdstk.Label('gnd', (57.9,146), layer=62, texttype=0))
hierarchical_decoder_0.add(gdstk.Label('gnd', (16.9,0.4), layer=62, texttype=0))
hierarchical_decoder_0.add(gdstk.Label('gnd', (31.9,0.4), layer=62, texttype=0))
hierarchical_decoder_0.add(gdstk.Label('gnd', (57.9,83.6), layer=62, texttype=0))
hierarchical_decoder_0.add(gdstk.Label('gnd', (57.9,125.2), layer=62, texttype=0))
hierarchical_decoder_0.add(gdstk.Label('gnd', (57.9,62.8), layer=62, texttype=0))
hierarchical_decoder_0.add(gdstk.Label('gnd', (31.9,21.2), layer=62, texttype=0))
hierarchical_decoder_0.add(gdstk.Label('gnd', (16.9,42), layer=62, texttype=0))
hierarchical_decoder_0.add(gdstk.Label('gnd', (16.9,83.6), layer=62, texttype=0))
hierarchical_decoder_0.add(gdstk.Label('gnd', (16.9,21.2), layer=62, texttype=0))
hierarchical_decoder_0.add(gdstk.Label('gnd', (31.9,83.6), layer=62, texttype=0))
hierarchical_decoder_0.add(gdstk.Label('gnd', (57.9,42), layer=62, texttype=0))

lib.write_gds('hierarchical_decoder_0.gds')
